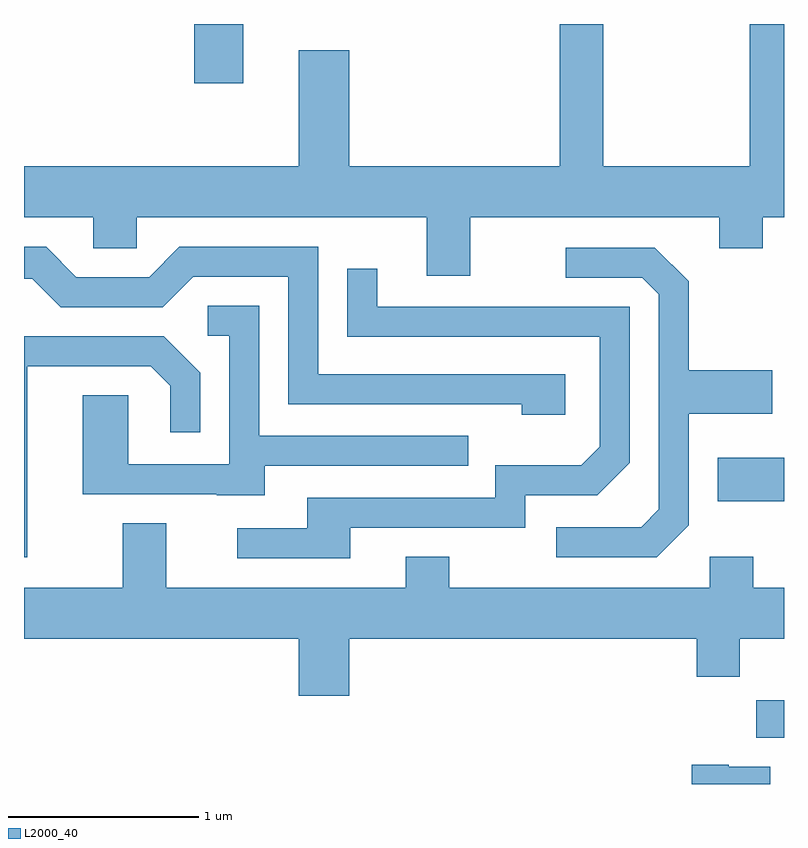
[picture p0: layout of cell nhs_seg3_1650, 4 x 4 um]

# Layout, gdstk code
import gdstk
lib = gdstk.Library(unit=1e-6, precision=1e-09)
def R(c, l, rs):  # rectangles x0, y0, x1, y1
    for r in rs: c.add(gdstk.rectangle(r[:2], r[2:], *l))
def P(c, l, *ps):  # polygons
    for p in ps: c.add(gdstk.Polygon(p, *l))
L2000_40 = (2000, 40)

nhs_seg3_1650 = lib.new_cell('nhs_seg3_1650')
R(nhs_seg3_1650, L2000_40, [(237.466,1152.136,237.611,1152.334), (237.261,1153.381,237.611,1153.609), (234.506,1155.581,234.764,1155.892)])
P(nhs_seg3_1650, L2000_40, [(237.431,1155.144),(236.659,1155.144),(236.659,1155.892),(236.431,1155.892),(236.431,1155.144),(235.324,1155.144),(235.324,1155.754),(235.056,1155.754),(235.056,1155.144),(233.611,1155.144),(233.611,1154.876),(233.976,1154.876),(233.976,1154.711),(234.204,1154.711),(234.204,1154.876),(235.731,1154.876),(235.731,1154.566),(235.959,1154.566),(235.959,1154.876),(237.271,1154.876),(237.271,1154.711),(237.499,1154.711),(237.499,1154.876),(237.611,1154.876),(237.611,1155.892),(237.431,1155.892)],
  [(236.459,1154.049),(235.159,1154.049),(235.159,1154.719),(234.429,1154.719),(234.269,1154.559),(233.887,1154.559),(233.727,1154.719),(233.611,1154.719),(233.611,1154.551),(233.654,1154.551),(233.804,1154.401),(234.342,1154.401),(234.502,1154.561),(235.001,1154.561),(235.001,1153.891),(236.231,1153.891),(236.231,1153.836),(236.459,1153.836)],
  [(237.109,1153.254),(237.109,1153.841),(237.549,1153.841),(237.549,1154.069),(237.109,1154.069),(237.109,1154.537),(236.932,1154.714),(236.463,1154.714),(236.463,1154.556),(236.864,1154.556),(236.951,1154.469),(236.951,1153.337),(236.859,1153.244),(236.413,1153.244),(236.413,1153.086),(236.942,1153.086)],
  [(235.329,1153.241),(236.249,1153.241),(236.249,1153.411),(236.627,1153.411),(236.799,1153.584),(236.799,1154.404),(235.469,1154.404),(235.469,1154.603),(235.311,1154.603),(235.311,1154.246),(236.641,1154.246),(236.641,1153.667),(236.544,1153.569),(236.091,1153.569),(236.091,1153.399),(235.101,1153.399),(235.101,1153.239),(234.733,1153.239),(234.733,1153.081),(235.329,1153.081)],
  [(234.879,1153.566),(235.948,1153.566),(235.948,1153.724),(234.849,1153.724),(234.849,1154.409),(234.578,1154.409),(234.578,1154.251),(234.691,1154.251),(234.691,1153.574),(234.159,1153.574),(234.159,1153.939),(233.921,1153.939),(233.921,1153.416),(234.625,1153.416),(234.625,1153.411),(234.879,1153.411)],
  [(233.629,1154.091),(234.279,1154.091),(234.381,1153.989),(234.381,1153.743),(234.539,1153.743),(234.539,1154.057),(234.347,1154.249),(233.611,1154.249),(233.611,1153.086),(233.629,1153.086)],
  [(235.324,1152.656),(237.151,1152.656),(237.151,1152.456),(237.379,1152.456),(237.379,1152.656),(237.611,1152.656),(237.611,1152.924),(237.449,1152.924),(237.449,1153.089),(237.221,1153.089),(237.221,1152.924),(235.849,1152.924),(235.849,1153.089),(235.621,1153.089),(235.621,1152.924),(234.359,1152.924),(234.359,1153.264),(234.131,1153.264),(234.131,1152.924),(233.611,1152.924),(233.611,1152.656),(235.056,1152.656),(235.056,1152.356),(235.324,1152.356)],
  [(237.539,1151.984),(237.32,1151.984),(237.32,1151.994),(237.126,1151.994),(237.126,1151.892),(237.539,1151.892)])

lib.write_gds('nhs_seg3_1650.gds')
